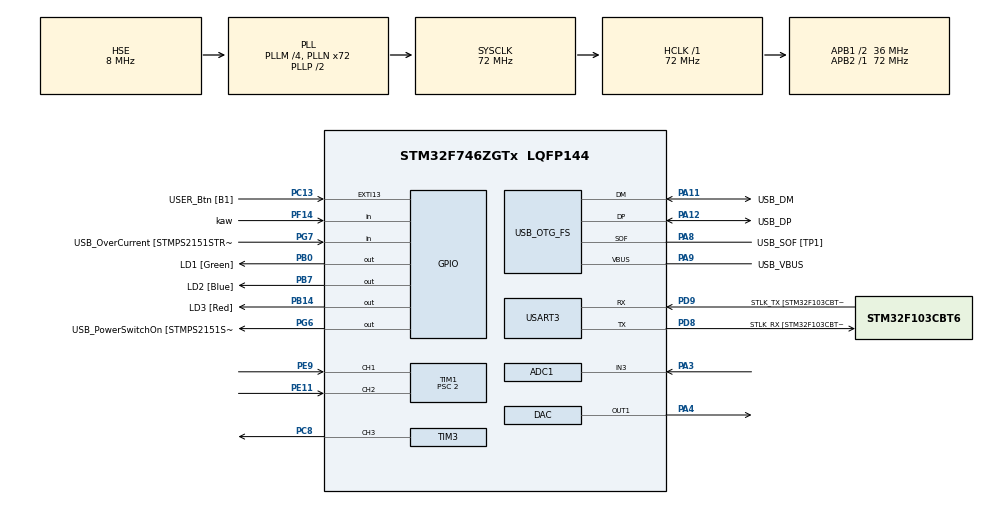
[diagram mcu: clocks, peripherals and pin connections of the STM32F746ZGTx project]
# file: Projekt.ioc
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ADC1.Channel-1\#ChannelRegularConversion=ADC_CHANNEL_3
ADC1.NbrOfConversionFlag=1
ADC1.Rank-1\#ChannelRegularConversion=1
ADC1.SamplingTime-1\#ChannelRegularConversion=ADC_SAMPLETIME_3CYCLES
ADC1.master=1
DAC.DAC_OutputBuffer=DAC_OUTPUTBUFFER_ENABLE
DAC.DAC_Trigger=DAC_TRIGGER_T4_TRGO
DAC.WaveGeneration=TriangleWaveGeneration
Mcu.Family=STM32F7
Mcu.Name=STM32F746ZGTx
Mcu.Package=LQFP144
NVIC.PriorityGroup=NVIC_PRIORITYGROUP_4
NVIC.TIM8_TRG_COM_TIM14_IRQn=true\:0\:0\:false\:false\:true\:true\:true
NVIC.USART3_IRQn=true\:0\:0\:false\:false\:true\:true\:true
PA1.GPIO_Label=RMII_REF_CLK [LAN8742A-CZ-TR_REFCLK0]
PA1.Signal=ETH_REF_CLK
PA10.GPIO_Label=USB_ID
PA10.Signal=USB_OTG_FS_ID
PA11.GPIO_Label=USB_DM
PA11.Mode=Device_Only
PA11.Signal=USB_OTG_FS_DM
PA12.GPIO_Label=USB_DP
PA12.Mode=Device_Only
PA12.Signal=USB_OTG_FS_DP
PA13.GPIO_Label=TMS
PA13.Mode=Serial_Wire
PA13.Signal=SYS_JTMS-SWDIO
PA14.GPIO_Label=TCK
PA14.Mode=Serial_Wire
PA14.Signal=SYS_JTCK-SWCLK
PA2.GPIO_Label=RMII_MDIO [LAN8742A-CZ-TR_MDIO]
PA2.Signal=ETH_MDIO
PA3.Signal=ADCx_IN3
PA4.Signal=COMP_DAC1_group
PA7.GPIO_Label=RMII_CRS_DV [LAN8742A-CZ-TR_CRS_DV]
PA7.Signal=ETH_CRS_DV
PA8.GPIO_Label=USB_SOF [TP1]
PA8.Mode=Activate_SOF_FS
PA8.Signal=USB_OTG_FS_SOF
PA9.GPIO_Label=USB_VBUS
PA9.Mode=Activate_VBUS
PA9.Signal=USB_OTG_FS_VBUS
PB0.GPIO_Label=LD1 [Green]
PB0.Signal=GPIO_Output
PB13.GPIO_Label=RMII_TXD1 [LAN8742A-CZ-TR_TXD1]
PB13.Signal=ETH_TXD1
PB14.GPIO_Label=LD3 [Red]
PB14.Signal=GPIO_Output
PB3.GPIO_Label=SW0
PB3.Signal=SYS_JTDO-SWO
PB7.GPIO_Label=LD2 [Blue]
PB7.Signal=GPIO_Output
PC1.GPIO_Label=RMII_MDC [LAN8742A-CZ-TR_MDC]
PC1.Signal=ETH_MDC
PC13.GPIO_Label=USER_Btn [B1]
PC13.Signal=GPXTI13
PC14/OSC32_IN.Mode=LSE-External-Oscillator
PC14/OSC32_IN.Signal=RCC_OSC32_IN
PC15/OSC32_OUT.Mode=LSE-External-Oscillator
PC15/OSC32_OUT.Signal=RCC_OSC32_OUT
PC4.GPIO_Label=RMII_RXD0 [LAN8742A-CZ-TR_RXD0]
PC4.Signal=ETH_RXD0
PC5.GPIO_Label=RMII_RXD1 [LAN8742A-CZ-TR_RXD1]
PC5.Signal=ETH_RXD1
PC8.Signal=S_TIM3_CH3
PD8.GPIO_Label=STLK_RX [STM32F103CBT6_PA3]
PD8.Mode=Asynchronous
PD8.Signal=USART3_TX
PD9.GPIO_Label=STLK_TX [STM32F103CBT6_PA2]
PD9.Mode=Asynchronous
PD9.Signal=USART3_RX
PE11.Signal=S_TIM1_CH2
PE9.Signal=S_TIM1_CH1
PF14.GPIO_Label=kaw
PF14.Signal=GPIO_Input
PG11.GPIO_Label=RMII_TX_EN [LAN8742A-CZ-TR_TXEN]
PG11.Signal=ETH_TX_EN
PG13.GPIO_Label=RMII_TXD0 [LAN8742A-CZ-TR_TXD0]
PG13.Signal=ETH_TXD0
PG6.GPIO_Label=USB_PowerSwitchOn [STMPS2151STR_EN]
PG6.Signal=GPIO_Output
PG7.GPIO_Label=USB_OverCurrent [STMPS2151STR_FAULT]
PG7.Signal=GPIO_Input
PH0/OSC_IN.GPIO_Label=MCO [STM32F103CBT6_PA8]
PH0/OSC_IN.Mode=HSE-External-Clock-Source
PH0/OSC_IN.Signal=RCC_OSC_IN
PH1/OSC_OUT.Mode=HSE-External-Clock-Source
PH1/OSC_OUT.Signal=RCC_OSC_OUT
ProjectManager.HeapSize=0x200
ProjectManager.StackSize=0x400
ProjectManager.TargetToolchain=STM32CubeIDE
RCC.48MHZClocksFreq_Value=24000000
RCC.AHBFreq_Value=72000000
RCC.APB1CLKDivider=RCC_HCLK_DIV2
RCC.APB1Freq_Value=36000000
RCC.APB1TimFreq_Value=72000000
RCC.APB2Freq_Value=72000000
RCC.APB2TimFreq_Value=72000000
RCC.CortexFreq_Value=72000000
RCC.HCLKFreq_Value=72000000
RCC.HSE_VALUE=8000000
RCC.HSI_VALUE=16000000
RCC.PLLM=4
RCC.PLLMUL=RCC_PLL_MUL9
RCC.PLLN=72
RCC.PLLQ=3
RCC.PRESCALERUSB=RCC_USBCLKSOURCE_PLL_DIV1_5
RCC.SYSCLKFreq_VALUE=72000000
RCC.SYSCLKSource=RCC_SYSCLKSOURCE_PLLCLK
RCC.SYSCLKSourceVirtual=RCC_SYSCLKSOURCE_PLLCLK
RCC.USBFreq_Value=48000000
RCC.VCOOutputFreq_Value=144000000
SH.ADCx_IN3.0=ADC1_IN3,IN3
SH.COMP_DAC1_group.0=DAC_OUT1,DAC_OUT1
SH.S_TIM1_CH1.0=TIM1_CH1,Encoder_Interface
SH.S_TIM1_CH2.0=TIM1_CH2,Encoder_Interface
SH.S_TIM3_CH3.0=TIM3_CH3,PWM Generation3 CH3
TIM1.ClockDivision=TIM_CLOCKDIVISION_DIV1
TIM1.EncoderMode=TIM_ENCODERMODE_TI12
TIM1.IC1Filter=15
TIM1.IC1Prescaler=TIM_ICPSC_DIV1
TIM1.IC2Filter=15
TIM1.IC2Prescaler=TIM_ICPSC_DIV1
TIM1.Period=14
TIM1.Prescaler=2
TIM14.Period=2499
TIM14.Prescaler=7199
TIM3.Channel-PWM\ Generation3\ CH3=TIM_CHANNEL_3
TIM3.Period=2499
TIM3.Prescaler=71
TIM3.Pulse-PWM\ Generation3\ CH3=1000
USART3.VirtualMode-Asynchronous=VM_ASYNC
USB_OTG_FS.VirtualMode=Device_Only
VP_TIM14_VS_ClockSourceINT.Mode=Enable_Timer
VP_TIM3_VS_ClockSourceINT.Mode=Internal
VP_TIM4_VS_ClockSourceINT.Mode=Internal
board=NUCLEO-F746ZG

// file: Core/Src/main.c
/* USER CODE BEGIN Header */
/**
  ******************************************************************************
  * @file           : main.c
  * @brief          : Main program body
  ******************************************************************************
  * @attention
  *
  * <h2><center>&copy; Copyright (c) 2022 STMicroelectronics.
  * All rights reserved.</center></h2>
  *
  * This software component is licensed by ST under BSD 3-Clause license,
  * the "License"; You may not use this file except in compliance with the
  * License. You may obtain a copy of the License at:
  *                        opensource.org/licenses/BSD-3-Clause
  *
  ******************************************************************************
  */
/* USER CODE END Header */
#include "main.h"

/* USER CODE BEGIN Includes */
#include <stdio.h>
#include <string.h>
/* USER CODE END Includes */

ADC_HandleTypeDef hadc1;

DAC_HandleTypeDef hdac;

TIM_HandleTypeDef htim1;
TIM_HandleTypeDef htim3;
TIM_HandleTypeDef htim4;
TIM_HandleTypeDef htim14;

UART_HandleTypeDef huart3;

PCD_HandleTypeDef hpcd_USB_OTG_FS;

void SystemClock_Config(void);
static void MX_GPIO_Init(void);
static void MX_USART3_UART_Init(void);
static void MX_USB_OTG_FS_PCD_Init(void);
static void MX_TIM1_Init(void);
static void MX_TIM3_Init(void);
static void MX_DAC_Init(void);
static void MX_ADC1_Init(void);
static void MX_TIM14_Init(void);
static void MX_TIM4_Init(void);
/* USER CODE BEGIN PFP */
int impulsy;
char msg [50];
int i=0;
int i2=0;
int i3=0;
float AdcValue;
int rozmiar_dan=1000;
int wyniki [1000];
int obr=0;
int okolica;
float min_proc1=400;
int obroty;
int obrotys=0;
int koka;
uint8_t key[2];
float kp=1000;
float ki=750;
float kd=0;
float e;
float e_sum;
float e_sump;
float e_last;
float u;
float u_next;
float u_last1;
float u_last2;
float u_last3;
float dt=0.25;
float obroty_last;

/* USER CODE END PFP */

int main(void)
{

  /* MCU Configuration--------------------------------------------------------*/

  /* Reset of all peripherals, Initializes the Flash interface and the Systick. */
  HAL_Init();

  /* Configure the system clock */
  SystemClock_Config();

  /* Initialize all configured peripherals */
  MX_GPIO_Init();
  MX_USART3_UART_Init();
  MX_USB_OTG_FS_PCD_Init();
  MX_TIM1_Init();
  MX_TIM3_Init();
  MX_DAC_Init();
  MX_ADC1_Init();
  MX_TIM14_Init();
  MX_TIM4_Init();
  /* USER CODE BEGIN 2 */
  /* inicjacja potrzebnych elementów */
  HAL_TIM_Encoder_Start(&htim1, TIM_CHANNEL_ALL);
  HAL_TIM_PWM_Start (&htim3, TIM_CHANNEL_3);
  HAL_TIM_Base_Start(&htim4);
  HAL_DAC_Start(&hdac, DAC_CHANNEL_1);
  HAL_TIM_Base_Start_IT(&htim14);
  HAL_UART_Receive_IT(&huart3, key, 2);

  /* USER CODE END 2 */

  /* Infinite loop */
  while (1)
  {

    /* USER CODE BEGIN 3 */
      /* sczytanie wartości z enkodera*/
	  impulsy = __HAL_TIM_GET_COUNTER(&htim1);
	  /* szczytanie wartości z dzielnika napięcia*/
	  HAL_ADC_Start(&hadc1);
	  HAL_ADC_PollForConversion(&hadc1, HAL_MAX_DELAY);
	  AdcValue = HAL_ADC_GetValue(&hadc1);
	  HAL_Delay(1);
	  wyniki[i]=AdcValue;
	  /* zobserwowanie obrotu*/
	  if(wyniki[(i-1)%(rozmiar_dan+1)]!=0)
	  {
		  for(i2 = 1; i2 < rozmiar_dan; i2++)
		  {
			  /* zobserwowanie spadku*/
			  if(obr==0){
				  if((wyniki[abs((i-i2)%(rozmiar_dan+1))]-min_proc1)>wyniki[i])
				  {
					  okolica=wyniki[abs((i-i2)%(rozmiar_dan+1))];
					  obr=1;
					  break;
				  }
			  }
			  /* zobserwowanie wzrostu*/
			  else if(obr==1)
			  {
				  if((wyniki[abs((i-i2)%(rozmiar_dan+1))]+min_proc1)<wyniki[i])
				  {
					  obr=2;
					  memset(wyniki, 0, 1000 * sizeof(int));
					  break;
				  }
			  }
			  /* zobserwowanie osiągnięcia stanu wysokiego*/
			  else
			  {
				  if(okolica<wyniki[i]+200 )
				  {
					  obr=0;
					  i=-1;
					  obroty++;
					  memset(wyniki, 0, 1000 * sizeof(int));
					  break;
				  }
			  }
		  }
	  }
	  i=(i+1)%(rozmiar_dan+1);
  }
  /* USER CODE END 3 */
}

void SystemClock_Config(void)
{
  RCC_OscInitTypeDef RCC_OscInitStruct = {0};
  RCC_ClkInitTypeDef RCC_ClkInitStruct = {0};
  RCC_PeriphCLKInitTypeDef PeriphClkInitStruct = {0};

  /** Configure LSE Drive Capability
  */
  HAL_PWR_EnableBkUpAccess();
  /** Configure the main internal regulator output voltage
  */
  __HAL_RCC_PWR_CLK_ENABLE();
  __HAL_PWR_VOLTAGESCALING_CONFIG(PWR_REGULATOR_VOLTAGE_SCALE3);
  /** Initializes the RCC Oscillators according to the specified parameters
  * in the RCC_OscInitTypeDef structure.
  */
  RCC_OscInitStruct.OscillatorType = RCC_OSCILLATORTYPE_HSE;
  RCC_OscInitStruct.HSEState = RCC_HSE_BYPASS;
  RCC_OscInitStruct.PLL.PLLState = RCC_PLL_ON;
  RCC_OscInitStruct.PLL.PLLSource = RCC_PLLSOURCE_HSE;
  RCC_OscInitStruct.PLL.PLLM = 4;
  RCC_OscInitStruct.PLL.PLLN = 72;
  RCC_OscInitStruct.PLL.PLLP = RCC_PLLP_DIV2;
  RCC_OscInitStruct.PLL.PLLQ = 3;
  if (HAL_RCC_OscConfig(&RCC_OscInitStruct) != HAL_OK)
  {
    Error_Handler();
  }
  /** Initializes the CPU, AHB and APB buses clocks
  */
  RCC_ClkInitStruct.ClockType = RCC_CLOCKTYPE_HCLK|RCC_CLOCKTYPE_SYSCLK
                              |RCC_CLOCKTYPE_PCLK1|RCC_CLOCKTYPE_PCLK2;
  RCC_ClkInitStruct.SYSCLKSource = RCC_SYSCLKSOURCE_PLLCLK;
  RCC_ClkInitStruct.AHBCLKDivider = RCC_SYSCLK_DIV1;
  RCC_ClkInitStruct.APB1CLKDivider = RCC_HCLK_DIV2;
  RCC_ClkInitStruct.APB2CLKDivider = RCC_HCLK_DIV1;

  if (HAL_RCC_ClockConfig(&RCC_ClkInitStruct, FLASH_LATENCY_2) != HAL_OK)
  {
    Error_Handler();
  }
  PeriphClkInitStruct.PeriphClockSelection = RCC_PERIPHCLK_USART3|RCC_PERIPHCLK_CLK48;
  PeriphClkInitStruct.Usart3ClockSelection = RCC_USART3CLKSOURCE_PCLK1;
  PeriphClkInitStruct.Clk48ClockSelection = RCC_CLK48SOURCE_PLL;
  if (HAL_RCCEx_PeriphCLKConfig(&PeriphClkInitStruct) != HAL_OK)
  {
    Error_Handler();
  }
}

static void MX_ADC1_Init(void)
{

  ADC_ChannelConfTypeDef sConfig = {0};

  /** Configure the global features of the ADC (Clock, Resolution, Data Alignment and number of conversion)
  */
  hadc1.Instance = ADC1;
  hadc1.Init.ClockPrescaler = ADC_CLOCK_SYNC_PCLK_DIV2;
  hadc1.Init.Resolution = ADC_RESOLUTION_12B;
  hadc1.Init.ScanConvMode = ADC_SCAN_DISABLE;
  hadc1.Init.ContinuousConvMode = DISABLE;
  hadc1.Init.DiscontinuousConvMode = DISABLE;
  hadc1.Init.ExternalTrigConvEdge = ADC_EXTERNALTRIGCONVEDGE_NONE;
  hadc1.Init.ExternalTrigConv = ADC_SOFTWARE_START;
  hadc1.Init.DataAlign = ADC_DATAALIGN_RIGHT;
  hadc1.Init.NbrOfConversion = 1;
  hadc1.Init.DMAContinuousRequests = DISABLE;
  hadc1.Init.EOCSelection = ADC_EOC_SINGLE_CONV;
  if (HAL_ADC_Init(&hadc1) != HAL_OK)
  {
    Error_Handler();
  }
  /** Configure for the selected ADC regular channel its corresponding rank in the sequencer and its sample time.
  */
  sConfig.Channel = ADC_CHANNEL_3;
  sConfig.Rank = ADC_REGULAR_RANK_1;
  sConfig.SamplingTime = ADC_SAMPLETIME_3CYCLES;
  if (HAL_ADC_ConfigChannel(&hadc1, &sConfig) != HAL_OK)
  {
    Error_Handler();
  }

}

static void MX_DAC_Init(void)
{

  DAC_ChannelConfTypeDef sConfig = {0};

  /** DAC Initialization
  */
  hdac.Instance = DAC;
  if (HAL_DAC_Init(&hdac) != HAL_OK)
  {
    Error_Handler();
  }
  /** DAC channel OUT1 config
  */
  sConfig.DAC_Trigger = DAC_TRIGGER_T4_TRGO;
  sConfig.DAC_OutputBuffer = DAC_OUTPUTBUFFER_ENABLE;
  if (HAL_DAC_ConfigChannel(&hdac, &sConfig, DAC_CHANNEL_1) != HAL_OK)
  {
    Error_Handler();
  }
  /** Configure Triangle wave generation on DAC OUT1
  */
  if (HAL_DACEx_TriangleWaveGenerate(&hdac, DAC_CHANNEL_1, DAC_TRIANGLEAMPLITUDE_1) != HAL_OK)
  {
    Error_Handler();
  }

}

static void MX_TIM1_Init(void)
{

  TIM_Encoder_InitTypeDef sConfig = {0};
  TIM_MasterConfigTypeDef sMasterConfig = {0};

  htim1.Instance = TIM1;
  htim1.Init.Prescaler = 2;
  htim1.Init.CounterMode = TIM_COUNTERMODE_UP;
  htim1.Init.Period = 14;
  htim1.Init.ClockDivision = TIM_CLOCKDIVISION_DIV1;
  htim1.Init.RepetitionCounter = 0;
  htim1.Init.AutoReloadPreload = TIM_AUTORELOAD_PRELOAD_DISABLE;
  sConfig.EncoderMode = TIM_ENCODERMODE_TI12;
  sConfig.IC1Polarity = TIM_ICPOLARITY_RISING;
  sConfig.IC1Selection = TIM_ICSELECTION_DIRECTTI;
  sConfig.IC1Prescaler = TIM_ICPSC_DIV1;
  sConfig.IC1Filter = 15;
  sConfig.IC2Polarity = TIM_ICPOLARITY_RISING;
  sConfig.IC2Selection = TIM_ICSELECTION_DIRECTTI;
  sConfig.IC2Prescaler = TIM_ICPSC_DIV1;
  sConfig.IC2Filter = 15;
  if (HAL_TIM_Encoder_Init(&htim1, &sConfig) != HAL_OK)
  {
    Error_Handler();
  }
  sMasterConfig.MasterOutputTrigger = TIM_TRGO_RESET;
  sMasterConfig.MasterOutputTrigger2 = TIM_TRGO2_RESET;
  sMasterConfig.MasterSlaveMode = TIM_MASTERSLAVEMODE_DISABLE;
  if (HAL_TIMEx_MasterConfigSynchronization(&htim1, &sMasterConfig) != HAL_OK)
  {
    Error_Handler();
  }

}

static void MX_TIM3_Init(void)
{

  TIM_ClockConfigTypeDef sClockSourceConfig = {0};
  TIM_MasterConfigTypeDef sMasterConfig = {0};
  TIM_OC_InitTypeDef sConfigOC = {0};

  htim3.Instance = TIM3;
  htim3.Init.Prescaler = 71;
  htim3.Init.CounterMode = TIM_COUNTERMODE_UP;
  htim3.Init.Period = 2499;
  htim3.Init.ClockDivision = TIM_CLOCKDIVISION_DIV1;
  htim3.Init.AutoReloadPreload = TIM_AUTORELOAD_PRELOAD_DISABLE;
  if (HAL_TIM_Base_Init(&htim3) != HAL_OK)
  {
    Error_Handler();
  }
  sClockSourceConfig.ClockSource = TIM_CLOCKSOURCE_INTERNAL;
  if (HAL_TIM_ConfigClockSource(&htim3, &sClockSourceConfig) != HAL_OK)
  {
    Error_Handler();
  }
  if (HAL_TIM_PWM_Init(&htim3) != HAL_OK)
  {
    Error_Handler();
  }
  sMasterConfig.MasterOutputTrigger = TIM_TRGO_RESET;
  sMasterConfig.MasterSlaveMode = TIM_MASTERSLAVEMODE_DISABLE;
  if (HAL_TIMEx_MasterConfigSynchronization(&htim3, &sMasterConfig) != HAL_OK)
  {
    Error_Handler();
  }
  sConfigOC.OCMode = TIM_OCMODE_PWM1;
  sConfigOC.Pulse = 1000;
  sConfigOC.OCPolarity = TIM_OCPOLARITY_HIGH;
  sConfigOC.OCFastMode = TIM_OCFAST_DISABLE;
  if (HAL_TIM_PWM_ConfigChannel(&htim3, &sConfigOC, TIM_CHANNEL_3) != HAL_OK)
  {
    Error_Handler();
  }
  HAL_TIM_MspPostInit(&htim3);

}

static void MX_TIM4_Init(void)
{

  TIM_ClockConfigTypeDef sClockSourceConfig = {0};
  TIM_MasterConfigTypeDef sMasterConfig = {0};

  htim4.Instance = TIM4;
  htim4.Init.Prescaler = 0;
  htim4.Init.CounterMode = TIM_COUNTERMODE_UP;
  htim4.Init.Period = 65535;
  htim4.Init.ClockDivision = TIM_CLOCKDIVISION_DIV1;
  htim4.Init.AutoReloadPreload = TIM_AUTORELOAD_PRELOAD_DISABLE;
  if (HAL_TIM_Base_Init(&htim4) != HAL_OK)
  {
    Error_Handler();
  }
  sClockSourceConfig.ClockSource = TIM_CLOCKSOURCE_INTERNAL;
  if (HAL_TIM_ConfigClockSource(&htim4, &sClockSourceConfig) != HAL_OK)
  {
    Error_Handler();
  }
  sMasterConfig.MasterOutputTrigger = TIM_TRGO_RESET;
  sMasterConfig.MasterSlaveMode = TIM_MASTERSLAVEMODE_DISABLE;
  if (HAL_TIMEx_MasterConfigSynchronization(&htim4, &sMasterConfig) != HAL_OK)
  {
    Error_Handler();
  }

}

static void MX_TIM14_Init(void)
{

  htim14.Instance = TIM14;
  htim14.Init.Prescaler = 7199;
  htim14.Init.CounterMode = TIM_COUNTERMODE_UP;
  htim14.Init.Period = 2499;
  htim14.Init.ClockDivision = TIM_CLOCKDIVISION_DIV1;
  htim14.Init.AutoReloadPreload = TIM_AUTORELOAD_PRELOAD_DISABLE;
  if (HAL_TIM_Base_Init(&htim14) != HAL_OK)
  {
    Error_Handler();
  }

}

static void MX_USART3_UART_Init(void)
{

  huart3.Instance = USART3;
  huart3.Init.BaudRate = 115200;
  huart3.Init.WordLength = UART_WORDLENGTH_8B;
  huart3.Init.StopBits = UART_STOPBITS_1;
  huart3.Init.Parity = UART_PARITY_NONE;
  huart3.Init.Mode = UART_MODE_TX_RX;
  huart3.Init.HwFlowCtl = UART_HWCONTROL_NONE;
  huart3.Init.OverSampling = UART_OVERSAMPLING_16;
  huart3.Init.OneBitSampling = UART_ONE_BIT_SAMPLE_DISABLE;
  huart3.AdvancedInit.AdvFeatureInit = UART_ADVFEATURE_NO_INIT;
  if (HAL_UART_Init(&huart3) != HAL_OK)
  {
    Error_Handler();
  }

}

static void MX_USB_OTG_FS_PCD_Init(void)
{

  hpcd_USB_OTG_FS.Instance = USB_OTG_FS;
  hpcd_USB_OTG_FS.Init.dev_endpoints = 6;
  hpcd_USB_OTG_FS.Init.speed = PCD_SPEED_FULL;
  hpcd_USB_OTG_FS.Init.dma_enable = DISABLE;
  hpcd_USB_OTG_FS.Init.phy_itface = PCD_PHY_EMBEDDED;
  hpcd_USB_OTG_FS.Init.Sof_enable = ENABLE;
  hpcd_USB_OTG_FS.Init.low_power_enable = DISABLE;
  hpcd_USB_OTG_FS.Init.lpm_enable = DISABLE;
  hpcd_USB_OTG_FS.Init.vbus_sensing_enable = ENABLE;
  hpcd_USB_OTG_FS.Init.use_dedicated_ep1 = DISABLE;
  if (HAL_PCD_Init(&hpcd_USB_OTG_FS) != HAL_OK)
  {
    Error_Handler();
  }

}

static void MX_GPIO_Init(void)
{
  GPIO_InitTypeDef GPIO_InitStruct = {0};

  /* GPIO Ports Clock Enable */
  __HAL_RCC_GPIOC_CLK_ENABLE();
  __HAL_RCC_GPIOH_CLK_ENABLE();
  __HAL_RCC_GPIOA_CLK_ENABLE();
  __HAL_RCC_GPIOB_CLK_ENABLE();
  __HAL_RCC_GPIOF_CLK_ENABLE();
  __HAL_RCC_GPIOE_CLK_ENABLE();
  __HAL_RCC_GPIOD_CLK_ENABLE();
  __HAL_RCC_GPIOG_CLK_ENABLE();

  /*Configure GPIO pin Output Level */
  HAL_GPIO_WritePin(GPIOB, LD1_Pin|LD3_Pin|LD2_Pin, GPIO_PIN_RESET);

  /*Configure GPIO pin Output Level */
  HAL_GPIO_WritePin(USB_PowerSwitchOn_GPIO_Port, USB_PowerSwitchOn_Pin, GPIO_PIN_RESET);

  /*Configure GPIO pin : USER_Btn_Pin */
  GPIO_InitStruct.Pin = USER_Btn_Pin;
  GPIO_InitStruct.Mode = GPIO_MODE_IT_RISING;
  GPIO_InitStruct.Pull = GPIO_NOPULL;
  HAL_GPIO_Init(USER_Btn_GPIO_Port, &GPIO_InitStruct);

  /*Configure GPIO pins : RMII_MDC_Pin RMII_RXD0_Pin RMII_RXD1_Pin */
  GPIO_InitStruct.Pin = RMII_MDC_Pin|RMII_RXD0_Pin|RMII_RXD1_Pin;
  GPIO_InitStruct.Mode = GPIO_MODE_AF_PP;
  GPIO_InitStruct.Pull = GPIO_NOPULL;
  GPIO_InitStruct.Speed = GPIO_SPEED_FREQ_VERY_HIGH;
  GPIO_InitStruct.Alternate = GPIO_AF11_ETH;
  HAL_GPIO_Init(GPIOC, &GPIO_InitStruct);

  /*Configure GPIO pins : RMII_REF_CLK_Pin RMII_MDIO_Pin RMII_CRS_DV_Pin */
  GPIO_InitStruct.Pin = RMII_REF_CLK_Pin|RMII_MDIO_Pin|RMII_CRS_DV_Pin;
  GPIO_InitStruct.Mode = GPIO_MODE_AF_PP;
  GPIO_InitStruct.Pull = GPIO_NOPULL;
  GPIO_InitStruct.Speed = GPIO_SPEED_FREQ_VERY_HIGH;
  GPIO_InitStruct.Alternate = GPIO_AF11_ETH;
  HAL_GPIO_Init(GPIOA, &GPIO_InitStruct);

  /*Configure GPIO pins : LD1_Pin LD3_Pin LD2_Pin */
  GPIO_InitStruct.Pin = LD1_Pin|LD3_Pin|LD2_Pin;
  GPIO_InitStruct.Mode = GPIO_MODE_OUTPUT_PP;
  GPIO_InitStruct.Pull = GPIO_NOPULL;
  GPIO_InitStruct.Speed = GPIO_SPEED_FREQ_LOW;
  HAL_GPIO_Init(GPIOB, &GPIO_InitStruct);

  /*Configure GPIO pin : kaw_Pin */
  GPIO_InitStruct.Pin = kaw_Pin;
  GPIO_InitStruct.Mode = GPIO_MODE_INPUT;
  GPIO_InitStruct.Pull = GPIO_NOPULL;
  HAL_GPIO_Init(kaw_GPIO_Port, &GPIO_InitStruct);

  /*Configure GPIO pin : RMII_TXD1_Pin */
  GPIO_InitStruct.Pin = RMII_TXD1_Pin;
  GPIO_InitStruct.Mode = GPIO_MODE_AF_PP;
  GPIO_InitStruct.Pull = GPIO_NOPULL;
  GPIO_InitStruct.Speed = GPIO_SPEED_FREQ_VERY_HIGH;
  GPIO_InitStruct.Alternate = GPIO_AF11_ETH;
  HAL_GPIO_Init(RMII_TXD1_GPIO_Port, &GPIO_InitStruct);

  /*Configure GPIO pin : USB_PowerSwitchOn_Pin */
  GPIO_InitStruct.Pin = USB_PowerSwitchOn_Pin;
  GPIO_InitStruct.Mode = GPIO_MODE_OUTPUT_PP;
  GPIO_InitStruct.Pull = GPIO_NOPULL;
  GPIO_InitStruct.Speed = GPIO_SPEED_FREQ_LOW;
  HAL_GPIO_Init(USB_PowerSwitchOn_GPIO_Port, &GPIO_InitStruct);

  /*Configure GPIO pin : USB_OverCurrent_Pin */
  GPIO_InitStruct.Pin = USB_OverCurrent_Pin;
  GPIO_InitStruct.Mode = GPIO_MODE_INPUT;
  GPIO_InitStruct.Pull = GPIO_NOPULL;
  HAL_GPIO_Init(USB_OverCurrent_GPIO_Port, &GPIO_InitStruct);

  /*Configure GPIO pins : RMII_TX_EN_Pin RMII_TXD0_Pin */
  GPIO_InitStruct.Pin = RMII_TX_EN_Pin|RMII_TXD0_Pin;
  GPIO_InitStruct.Mode = GPIO_MODE_AF_PP;
  GPIO_InitStruct.Pull = GPIO_NOPULL;
  GPIO_InitStruct.Speed = GPIO_SPEED_FREQ_VERY_HIGH;
  GPIO_InitStruct.Alternate = GPIO_AF11_ETH;
  HAL_GPIO_Init(GPIOG, &GPIO_InitStruct);

}

/* USER CODE BEGIN 4 */
/* wykonywanie z częstotliwościa 4Hz*/
void HAL_TIM_PeriodElapsedCallback(TIM_HandleTypeDef *htim)
{

  if (htim == &htim14 )
  {
	 /* Średnia z 2 ostatnich wyników obrotów*/
	obrotys=(obroty*10+obroty_last)/2;
	/* PID*/
	e=impulsy-obroty;
	obroty_last=obrotys;
	obroty=0;

    e_sum=e_sump+(e - e_last);
    e_sump=e_sum;
    /*Dodanie wartości stałej potrzebnej aby pokonać bezwładność*/
    if(impulsy==0)
    {
    	u_next=0;
    }
    else
    {
    	u_next =465+( kp*e + ki*e_sum*(dt/2) + kd*(e - e_last)/dt);
    }
    e_last=e;
    /*Saturacja */
    if(u_next<0)
    {
    	u_next=0;
    }
    else if(u_next>2499)
    {
    	u_next=2499;
    }
    /* Filtr FIR*/
    u_next=(u_next+u_last1+u_last2+u_last3)/4;
    u_last3=u_last2;
    u_last2=u_last1;
    u_last1=u_next;
    /* Zadanie wypełnienia PWM*/
	 __HAL_TIM_SET_COMPARE(&htim3, TIM_CHANNEL_3, u_next);
	 /*Wysłanie informacji przez USART */
    sprintf(msg,"%d %d ", obrotys,impulsy);
	HAL_UART_Transmit(&huart3, (uint8_t*)msg, strlen(msg), 1000);
  }
}
/*Otrzymanie wartości zadanej przez program "komunikacja"*/
void HAL_UART_RxCpltCallback(UART_HandleTypeDef *huart)
{

	if (huart == &huart3)
	{
		/*konwersja*/
	    HAL_UART_Receive_IT(&huart3, key, 2);
	    koka=(key[0]-48)*10+(key[1]-48);
	    __HAL_TIM_SetCounter(&htim1,koka);

	}
}
/* USER CODE END 4 */

void Error_Handler(void)
{
  __disable_irq();
  while (1)
  {
  }
}

/************************ (C) COPYRIGHT STMicroelectronics *****END OF FILE****/
